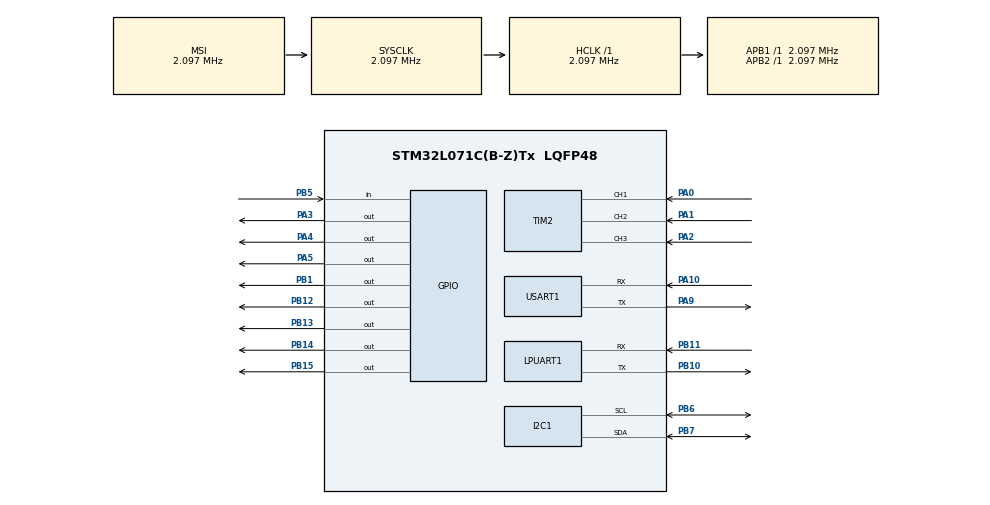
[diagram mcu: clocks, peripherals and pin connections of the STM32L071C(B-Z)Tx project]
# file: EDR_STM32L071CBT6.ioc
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I2C1.Timing=0x00000608
Mcu.Family=STM32L0
Mcu.Name=STM32L071C(B-Z)Tx
Mcu.Package=LQFP48
PA0.Signal=S_TIM2_CH1
PA1.Signal=S_TIM2_CH2
PA10.Mode=Asynchronous
PA10.Signal=USART1_RX
PA13.Mode=Serial_Wire
PA13.Signal=SYS_SWDIO
PA14.Mode=Serial_Wire
PA14.Signal=SYS_SWCLK
PA2.Signal=S_TIM2_CH3
PA3.Signal=GPIO_Output
PA4.Signal=GPIO_Output
PA5.Signal=GPIO_Output
PA9.Mode=Asynchronous
PA9.Signal=USART1_TX
PB1.Signal=GPIO_Output
PB10.Mode=Asynchronous
PB10.Signal=LPUART1_TX
PB11.Mode=Asynchronous
PB11.Signal=LPUART1_RX
PB12.PinState=GPIO_PIN_SET
PB12.Signal=GPIO_Output
PB13.Signal=GPIO_Output
PB14.Signal=GPIO_Output
PB15.Signal=GPIO_Output
PB5.GPIO_PuPd=GPIO_PULLUP
PB5.Signal=GPIO_Input
PB6.Mode=I2C
PB6.Signal=I2C1_SCL
PB7.Mode=I2C
PB7.Signal=I2C1_SDA
PC14-OSC32_IN.Mode=LSE-External-Oscillator
PC14-OSC32_IN.Signal=RCC_OSC32_IN
PC15-OSC32_OUT.Mode=LSE-External-Oscillator
PC15-OSC32_OUT.Signal=RCC_OSC32_OUT
ProjectManager.HeapSize=0x200
ProjectManager.StackSize=0x400
ProjectManager.TargetToolchain=STM32CubeIDE
RCC.AHBFreq_Value=2097000
RCC.APB1Freq_Value=2097000
RCC.APB1TimFreq_Value=2097000
RCC.APB2Freq_Value=2097000
RCC.APB2TimFreq_Value=2097000
RCC.HSE_VALUE=8000000
RCC.HSI16_VALUE=16000000
RCC.HSI_VALUE=16000000
RCC.MSI_VALUE=2097000
RCC.SYSCLKFreq_VALUE=2097000
RCC.VCOOutputFreq_Value=48000000
SH.S_TIM2_CH1.0=TIM2_CH1,Input_Capture1_from_TI1
SH.S_TIM2_CH2.0=TIM2_CH2,Input_Capture2_from_TI2
SH.S_TIM2_CH3.0=TIM2_CH3,Input_Capture3_from_TI3
TIM2.Channel-Input_Capture1_from_TI1=TIM_CHANNEL_1
TIM2.Channel-Input_Capture2_from_TI2=TIM_CHANNEL_2
TIM2.Channel-Input_Capture3_from_TI3=TIM_CHANNEL_3
USART1.VirtualMode-Asynchronous=VM_ASYNC
board=custom

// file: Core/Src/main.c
/* USER CODE BEGIN Header */
/**
  ******************************************************************************
  * @file           : main.c
  * @brief          : Main program body
  ******************************************************************************
  * @attention
  *
  * Copyright (c) 2026 STMicroelectronics.
  * All rights reserved.
  *
  * This software is licensed under terms that can be found in the LICENSE file
  * in the root directory of this software component.
  * If no LICENSE file comes with this software, it is provided AS-IS.
  *
  ******************************************************************************
  */
/* USER CODE END Header */
#include "main.h"

/* USER CODE BEGIN Includes */
#include <stdio.h>
#include <string.h>
#include "ssd1306.h"
#include "ssd1306_fonts.h"
/* USER CODE END Includes */

I2C_HandleTypeDef hi2c1;

UART_HandleTypeDef hlpuart1;
UART_HandleTypeDef huart1;

TIM_HandleTypeDef htim2;

/* USER CODE BEGIN PV */
uint32_t rotation_count = 0;
uint8_t last_sensor_state = 1; // Assumes sensor is HIGH when idle
char display_buffer[32];       // Buffer to hold our text

// --- WEB TELEMETRY TIMERS ---
uint32_t telemetry_send_interval_ms = 30000; // Testing: Sends every 30 seconds
uint32_t last_telemetry_send_time = 0;       // Timestamp tracking last telemetry packet
/* USER CODE END PV */

void SystemClock_Config(void);
static void MX_GPIO_Init(void);
static void MX_I2C1_Init(void);
static void MX_LPUART1_UART_Init(void);
static void MX_USART1_UART_Init(void);
static void MX_TIM2_Init(void);

/* USER CODE BEGIN PFP */
void Send_SMS(void);
void Debug_SIM_OLED(void);
void GSM_Send_Telemetry(uint32_t count);
/* USER CODE END PFP */

int main(void)
{
  /* MCU Configuration--------------------------------------------------------*/

  /* Reset of all peripherals, Initializes the Flash interface and the Systick. */
  HAL_Init();

  /* Configure the system clock */
  SystemClock_Config();

  /* Initialize all configured peripherals */
  MX_GPIO_Init();
  MX_I2C1_Init();
  MX_LPUART1_UART_Init();
  MX_USART1_UART_Init();
  MX_TIM2_Init();

  /* USER CODE BEGIN 2 */

  // Initialize the OLED screen
  ssd1306_Init();
  ssd1306_Fill(Black);
  ssd1306_SetCursor(5, 10);
  ssd1306_WriteString("Meter Ready", Font_7x10, White);
  ssd1306_UpdateScreen();

  // Run the SIM module debug test on startup
  Debug_SIM_OLED();

  /* USER CODE END 2 */

  /* Infinite loop */
  /* USER CODE BEGIN WHILE */
  while (1)
  {
      // Read the current state of the Hall sensor (PA2)
      uint8_t current_sensor_state = HAL_GPIO_ReadPin(GPIOA, GPIO_PIN_2);

      // Check if sensor went from HIGH to LOW (Magnet detected)
      if (current_sensor_state == GPIO_PIN_RESET && last_sensor_state == GPIO_PIN_SET)
      {
          // 1. Increment the count
          rotation_count++;

          // 2. Format the text and push it to the OLED
          sprintf(display_buffer, "Count: %lu", rotation_count);
          ssd1306_Fill(Black);
          ssd1306_SetCursor(5, 10);
          ssd1306_WriteString(display_buffer, Font_7x10, White);
          ssd1306_UpdateScreen();

          // COMMENTED OUT: Prevents SMS spam on every single magnet pass!
          // Send_SMS();

          // 3. Turn ON the PA5 test LED
          HAL_GPIO_WritePin(GPIOA, GPIO_PIN_5, GPIO_PIN_SET);

          // 4. Keep it on briefly (reduced from 1000ms so we don't miss fast water flow)
          HAL_Delay(100);

          // 5. Turn OFF the PA5 LED
          HAL_GPIO_WritePin(GPIOA, GPIO_PIN_5, GPIO_PIN_RESET);
      }

      // --- PERIODIC WEB TELEMETRY BLOCK ---
      uint32_t current_time = HAL_GetTick();
      if (current_time - last_telemetry_send_time >= telemetry_send_interval_ms)
      {
          // Let the user know the board is busy sending data
          ssd1306_Fill(Black);
          ssd1306_SetCursor(5, 10);
          ssd1306_WriteString("Sending Web...", Font_7x10, White);
          ssd1306_UpdateScreen();

          // Fire the web function
          GSM_Send_Telemetry(rotation_count);

          // Reset rotation count after transmission to avoid double billing
          rotation_count = 0;
          last_telemetry_send_time = HAL_GetTick(); // Update timer AFTER sending finishes

          // Clear screen back to normal
          ssd1306_Fill(Black);
          ssd1306_UpdateScreen();
      }

      // Save the current state for the next loop
      last_sensor_state = current_sensor_state;

      // Tiny delay to act as a "debounce" so a shaky magnet doesn't count twice
      HAL_Delay(10);

    /* USER CODE END WHILE */

  }
}

void SystemClock_Config(void)
{
  RCC_OscInitTypeDef RCC_OscInitStruct = {0};
  RCC_ClkInitTypeDef RCC_ClkInitStruct = {0};
  RCC_PeriphCLKInitTypeDef PeriphClkInit = {0};

  /** Configure the main internal regulator output voltage
  */
  __HAL_PWR_VOLTAGESCALING_CONFIG(PWR_REGULATOR_VOLTAGE_SCALE1);

  /** Initializes the RCC Oscillators according to the specified parameters
  * in the RCC_OscInitTypeDef structure.
  */
  RCC_OscInitStruct.OscillatorType = RCC_OSCILLATORTYPE_MSI;
  RCC_OscInitStruct.MSIState = RCC_MSI_ON;
  RCC_OscInitStruct.MSICalibrationValue = 0;
  RCC_OscInitStruct.MSIClockRange = RCC_MSIRANGE_5;
  RCC_OscInitStruct.PLL.PLLState = RCC_PLL_NONE;
  if (HAL_RCC_OscConfig(&RCC_OscInitStruct) != HAL_OK)
  {
    Error_Handler();
  }

  /** Initializes the CPU, AHB and APB buses clocks
  */
  RCC_ClkInitStruct.ClockType = RCC_CLOCKTYPE_HCLK|RCC_CLOCKTYPE_SYSCLK
                              |RCC_CLOCKTYPE_PCLK1|RCC_CLOCKTYPE_PCLK2;
  RCC_ClkInitStruct.SYSCLKSource = RCC_SYSCLKSOURCE_MSI;
  RCC_ClkInitStruct.AHBCLKDivider = RCC_SYSCLK_DIV1;
  RCC_ClkInitStruct.APB1CLKDivider = RCC_HCLK_DIV1;
  RCC_ClkInitStruct.APB2CLKDivider = RCC_HCLK_DIV1;

  if (HAL_RCC_ClockConfig(&RCC_ClkInitStruct, FLASH_LATENCY_0) != HAL_OK)
  {
    Error_Handler();
  }
  PeriphClkInit.PeriphClockSelection = RCC_PERIPHCLK_USART1|RCC_PERIPHCLK_LPUART1
                              |RCC_PERIPHCLK_I2C1;
  PeriphClkInit.Usart1ClockSelection = RCC_USART1CLKSOURCE_PCLK2;
  PeriphClkInit.Lpuart1ClockSelection = RCC_LPUART1CLKSOURCE_PCLK1;
  PeriphClkInit.I2c1ClockSelection = RCC_I2C1CLKSOURCE_PCLK1;
  if (HAL_RCCEx_PeriphCLKConfig(&PeriphClkInit) != HAL_OK)
  {
    Error_Handler();
  }
}

static void MX_I2C1_Init(void)
{
  hi2c1.Instance = I2C1;
  hi2c1.Init.Timing = 0x00000608;
  hi2c1.Init.OwnAddress1 = 0;
  hi2c1.Init.AddressingMode = I2C_ADDRESSINGMODE_7BIT;
  hi2c1.Init.DualAddressMode = I2C_DUALADDRESS_DISABLE;
  hi2c1.Init.OwnAddress2 = 0;
  hi2c1.Init.OwnAddress2Masks = I2C_OA2_NOMASK;
  hi2c1.Init.GeneralCallMode = I2C_GENERALCALL_DISABLE;
  hi2c1.Init.NoStretchMode = I2C_NOSTRETCH_DISABLE;
  if (HAL_I2C_Init(&hi2c1) != HAL_OK)
  {
    Error_Handler();
  }
  if (HAL_I2CEx_ConfigAnalogFilter(&hi2c1, I2C_ANALOGFILTER_ENABLE) != HAL_OK)
  {
    Error_Handler();
  }
  if (HAL_I2CEx_ConfigDigitalFilter(&hi2c1, 0) != HAL_OK)
  {
    Error_Handler();
  }
}

static void MX_LPUART1_UART_Init(void)
{
  hlpuart1.Instance = LPUART1;
  hlpuart1.Init.BaudRate = 9600;
  hlpuart1.Init.WordLength = UART_WORDLENGTH_8B;
  hlpuart1.Init.StopBits = UART_STOPBITS_1;
  hlpuart1.Init.Parity = UART_PARITY_NONE;
  hlpuart1.Init.Mode = UART_MODE_TX_RX;
  hlpuart1.Init.HwFlowCtl = UART_HWCONTROL_NONE;
  hlpuart1.Init.OneBitSampling = UART_ONE_BIT_SAMPLE_DISABLE;
  hlpuart1.AdvancedInit.AdvFeatureInit = UART_ADVFEATURE_NO_INIT;
  if (HAL_UART_Init(&hlpuart1) != HAL_OK)
  {
    Error_Handler();
  }
}

static void MX_USART1_UART_Init(void)
{
  huart1.Instance = USART1;
  huart1.Init.BaudRate = 115200;
  huart1.Init.WordLength = UART_WORDLENGTH_8B;
  huart1.Init.StopBits = UART_STOPBITS_1;
  huart1.Init.Parity = UART_PARITY_NONE;
  huart1.Init.Mode = UART_MODE_TX_RX;
  huart1.Init.HwFlowCtl = UART_HWCONTROL_NONE;
  huart1.Init.OverSampling = UART_OVERSAMPLING_16;
  huart1.Init.OneBitSampling = UART_ONE_BIT_SAMPLE_DISABLE;
  huart1.AdvancedInit.AdvFeatureInit = UART_ADVFEATURE_NO_INIT;
  if (HAL_UART_Init(&huart1) != HAL_OK)
  {
    Error_Handler();
  }
}

static void MX_TIM2_Init(void)
{
  TIM_MasterConfigTypeDef sMasterConfig = {0};
  TIM_IC_InitTypeDef sConfigIC = {0};

  htim2.Instance = TIM2;
  htim2.Init.Prescaler = 0;
  htim2.Init.CounterMode = TIM_COUNTERMODE_UP;
  htim2.Init.Period = 65535;
  htim2.Init.ClockDivision = TIM_CLOCKDIVISION_DIV1;
  htim2.Init.AutoReloadPreload = TIM_AUTORELOAD_PRELOAD_DISABLE;
  if (HAL_TIM_IC_Init(&htim2) != HAL_OK)
  {
    Error_Handler();
  }
  sMasterConfig.MasterOutputTrigger = TIM_TRGO_RESET;
  sMasterConfig.MasterSlaveMode = TIM_MASTERSLAVEMODE_DISABLE;
  if (HAL_TIMEx_MasterConfigSynchronization(&htim2, &sMasterConfig) != HAL_OK)
  {
    Error_Handler();
  }
  sConfigIC.ICPolarity = TIM_INPUTCHANNELPOLARITY_RISING;
  sConfigIC.ICSelection = TIM_ICSELECTION_DIRECTTI;
  sConfigIC.ICPrescaler = TIM_ICPSC_DIV1;
  sConfigIC.ICFilter = 0;
  if (HAL_TIM_IC_ConfigChannel(&htim2, &sConfigIC, TIM_CHANNEL_1) != HAL_OK)
  {
    Error_Handler();
  }
  if (HAL_TIM_IC_ConfigChannel(&htim2, &sConfigIC, TIM_CHANNEL_2) != HAL_OK)
  {
    Error_Handler();
  }
  if (HAL_TIM_IC_ConfigChannel(&htim2, &sConfigIC, TIM_CHANNEL_3) != HAL_OK)
  {
    Error_Handler();
  }
}

static void MX_GPIO_Init(void)
{
  GPIO_InitTypeDef GPIO_InitStruct = {0};

  /* GPIO Ports Clock Enable */
  __HAL_RCC_GPIOC_CLK_ENABLE();
  __HAL_RCC_GPIOA_CLK_ENABLE();
  __HAL_RCC_GPIOB_CLK_ENABLE();

  /*Configure GPIO pin Output Level */
  HAL_GPIO_WritePin(GPIOA, GPIO_PIN_3|GPIO_PIN_4|GPIO_PIN_5, GPIO_PIN_RESET);

  /*Configure GPIO pin Output Level */
  HAL_GPIO_WritePin(GPIOB, GPIO_PIN_1|GPIO_PIN_13|GPIO_PIN_14|GPIO_PIN_15, GPIO_PIN_RESET);

  /*Configure GPIO pin Output Level */
  HAL_GPIO_WritePin(GPIOB, GPIO_PIN_12, GPIO_PIN_SET);

  /*Configure GPIO pins : PA3 PA4 PA5 */
  GPIO_InitStruct.Pin = GPIO_PIN_3|GPIO_PIN_4|GPIO_PIN_5;
  GPIO_InitStruct.Mode = GPIO_MODE_OUTPUT_PP;
  GPIO_InitStruct.Pull = GPIO_NOPULL;
  GPIO_InitStruct.Speed = GPIO_SPEED_FREQ_LOW;
  HAL_GPIO_Init(GPIOA, &GPIO_InitStruct);

  /*Configure GPIO pins : PB1 PB12 PB13 PB14 PB15 */
  GPIO_InitStruct.Pin = GPIO_PIN_1|GPIO_PIN_12|GPIO_PIN_13|GPIO_PIN_14|GPIO_PIN_15;
  GPIO_InitStruct.Mode = GPIO_MODE_OUTPUT_PP;
  GPIO_InitStruct.Pull = GPIO_NOPULL;
  GPIO_InitStruct.Speed = GPIO_SPEED_FREQ_LOW;
  HAL_GPIO_Init(GPIOB, &GPIO_InitStruct);

  /*Configure GPIO pin : PB5 */
  GPIO_InitStruct.Pin = GPIO_PIN_5;
  GPIO_InitStruct.Mode = GPIO_MODE_INPUT;
  GPIO_InitStruct.Pull = GPIO_PULLUP;
  HAL_GPIO_Init(GPIOB, &GPIO_InitStruct);
}

/* USER CODE BEGIN 4 */

void GSM_Send_Telemetry(uint32_t count)
{
  char gsm_buffer[256];
  char json_payload[128];

  // Compute liters on the STM32 (450 rotations = 1 Liter)
  uint32_t liters_int = count / 450;
  uint32_t liters_frac = ((count % 450) * 10000) / 450;

  // Format the JSON payload
  sprintf(json_payload, "{\"client_id\":\"00000000-0000-0000-0000-000000000000\",\"liters_consumed\":%lu.%04lu}", liters_int, liters_frac);

  // --- GPRS SETUP (Required for SIM800L internet) ---
  char *cmd_sapbr1 = "AT+SAPBR=3,1,\"Contype\",\"GPRS\"\r\n";
  HAL_UART_Transmit(&hlpuart1, (uint8_t*)cmd_sapbr1, strlen(cmd_sapbr1), 1000);
  HAL_Delay(500);

  // Make sure this APN matches your local carrier (e.g., dialogbb, mobitel, hutch3g)
  char *cmd_sapbr2 = "AT+SAPBR=3,1,\"APN\",\"dialogbb\"\r\n";
  HAL_UART_Transmit(&hlpuart1, (uint8_t*)cmd_sapbr2, strlen(cmd_sapbr2), 1000);
  HAL_Delay(500);

  char *cmd_sapbr3 = "AT+SAPBR=1,1\r\n"; // Open the bearer
  HAL_UART_Transmit(&hlpuart1, (uint8_t*)cmd_sapbr3, strlen(cmd_sapbr3), 3000);
  HAL_Delay(2000);

  // 1. Initialize HTTP Service
  char *cmd_init = "AT+HTTPINIT\r\n";
  HAL_UART_Transmit(&hlpuart1, (uint8_t*)cmd_init, strlen(cmd_init), 1000);
  HAL_Delay(500);

  // 2. Set HTTP parameters: CID
  char *cmd_cid = "AT+HTTPPARA=\"CID\",1\r\n";
  HAL_UART_Transmit(&hlpuart1, (uint8_t*)cmd_cid, strlen(cmd_cid), 1000);
  HAL_Delay(500);

  // 3. Set URL to the AWS Proxy endpoint (UNENCRYPTED HTTP!)
  sprintf(gsm_buffer, "AT+HTTPPARA=\"URL\",\"http://13.48.194.28/forward\"\r\n");
  HAL_UART_Transmit(&hlpuart1, (uint8_t*)gsm_buffer, strlen(gsm_buffer), 1000);
  HAL_Delay(500);

  // 4. Set Content Type to JSON
  char *cmd_content = "AT+HTTPPARA=\"CONTENT\",\"application/json\"\r\n";
  HAL_UART_Transmit(&hlpuart1, (uint8_t*)cmd_content, strlen(cmd_content), 1000);
  HAL_Delay(500);

  // 5. Send HTTP Data Size
  sprintf(gsm_buffer, "AT+HTTPDATA=%d,10000\r\n", strlen(json_payload));
  HAL_UART_Transmit(&hlpuart1, (uint8_t*)gsm_buffer, strlen(gsm_buffer), 1000);
  HAL_Delay(2000); // Wait for module prompt (>)

  // 6. Send the actual payload
  HAL_UART_Transmit(&hlpuart1, (uint8_t*)json_payload, strlen(json_payload), 5000);
  HAL_Delay(2000);

  // 7. Perform HTTP POST
  char *cmd_action = "AT+HTTPACTION=1\r\n";
  HAL_UART_Transmit(&hlpuart1, (uint8_t*)cmd_action, strlen(cmd_action), 1000);
  HAL_Delay(5000); // Wait for action response (+HTTPACTION: 1,200,...)

  // 8. Terminate HTTP Service
  char *cmd_term = "AT+HTTPTERM\r\n";
  HAL_UART_Transmit(&hlpuart1, (uint8_t*)cmd_term, strlen(cmd_term), 1000);
  HAL_Delay(500);

  // --- Close GPRS Bearer ---
  char *cmd_close = "AT+SAPBR=0,1\r\n";
  HAL_UART_Transmit(&hlpuart1, (uint8_t*)cmd_close, strlen(cmd_close), 1000);
  HAL_Delay(500);
}

void Debug_SIM_OLED(void)
{
  char rx_buffer[30] = {0};

  ssd1306_Fill(Black);
  ssd1306_SetCursor(0, 2);
  ssd1306_WriteString("Testing SIM...", Font_7x10, White);
  ssd1306_UpdateScreen();

  char *cmd_ate0 = "ATE0\r\n";
  HAL_UART_Transmit(&hlpuart1, (uint8_t*)cmd_ate0, strlen(cmd_ate0), 500);
  HAL_Delay(500);

  HAL_UART_Receive(&hlpuart1, (uint8_t*)rx_buffer, 30, 500);
  memset(rx_buffer, 0, 30);

  char *cmd_at = "AT\r\n";
  HAL_UART_Transmit(&hlpuart1, (uint8_t*)cmd_at, strlen(cmd_at), 500);
  HAL_UART_Receive(&hlpuart1, (uint8_t*)rx_buffer, 15, 2000);

  for(int i = 0; i < 30; i++) {
      if(rx_buffer[i] == '\r' || rx_buffer[i] == '\n') {
          rx_buffer[i] = ' ';
      }
  }

  if (strlen(rx_buffer) > 0)
  {
      ssd1306_SetCursor(0, 12);
      ssd1306_WriteString("Heard:", Font_7x10, White);
      ssd1306_SetCursor(0, 22);
      ssd1306_WriteString(rx_buffer, Font_7x10, White);
  }
  else
  {
      ssd1306_SetCursor(0, 12);
      ssd1306_WriteString("NO REPLY", Font_7x10, White);
  }
  ssd1306_UpdateScreen();

  HAL_Delay(3000);
  ssd1306_Fill(Black);
  ssd1306_UpdateScreen();
}

void Send_SMS(void)
{
  char *cmd_ate0 = "ATE0\r\n";
  HAL_UART_Transmit(&hlpuart1, (uint8_t*)cmd_ate0, strlen(cmd_ate0), 1000);
  HAL_Delay(500);

  char *cmd_text = "AT+CMGF=1\r\n";
  HAL_UART_Transmit(&hlpuart1, (uint8_t*)cmd_text, strlen(cmd_text), 1000);
  HAL_Delay(500);

  char *cmd_phone = "AT+CMGS=\"0760128947\"\r\n";
  HAL_UART_Transmit(&hlpuart1, (uint8_t*)cmd_phone, strlen(cmd_phone), 1000);
  HAL_Delay(1000);

  char payload[64];
  sprintf(payload, "Water Meter Alert! Magnet detected. Count: %lu\x1A", rotation_count);
  HAL_UART_Transmit(&hlpuart1, (uint8_t*)payload, strlen(payload), 2000);
  HAL_Delay(4000);
}
/* USER CODE END 4 */

void Error_Handler(void)
{
  __disable_irq();
  while (1)
  {
  }
}
